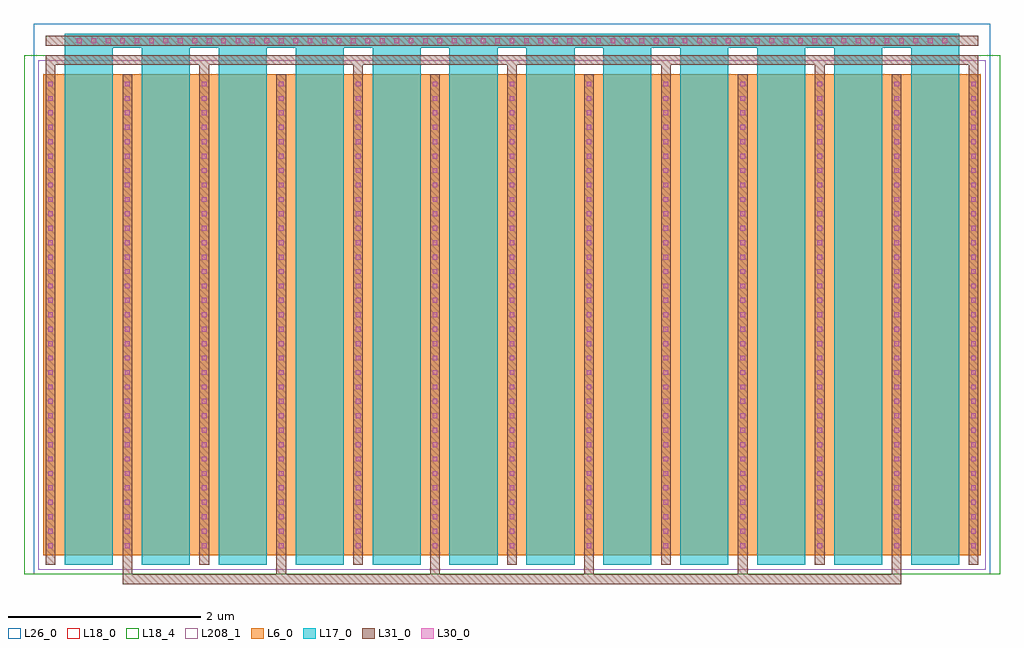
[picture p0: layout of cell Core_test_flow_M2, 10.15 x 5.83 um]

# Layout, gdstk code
import gdstk
lib = gdstk.Library(unit=1e-6, precision=1e-09)
def R(c, l, rs):  # rectangles x0, y0, x1, y1
    for r in rs: c.add(gdstk.rectangle(r[:2], r[2:], *l))
def A(c, l, x, y, w, h, nx, ny, dx, dy):  # array of equal rectangles
    R(c, l, [(x+i*dx, y+j*dy, x+i*dx+w, y+j*dy+h) for i in range(nx) for j in range(ny)])
L6_0 = (6, 0)
L17_0 = (17, 0)
L18_0 = (18, 0)
L18_4 = (18, 4)
L26_0 = (26, 0)
L30_0 = (30, 0)
L31_0 = (31, 0)
L208_1 = (208, 1)

core_test_flow_m2 = lib.new_cell('Core_test_flow_M2')
R(core_test_flow_m2, L6_0, [(-0.075,0.05,9.675,5.05)])
A(core_test_flow_m2, L17_0, 0.15, -0.05, 0.5, 5.2, 12, 1, 0.8, 0)
A(core_test_flow_m2, L17_0, 0.15, 5.05, 0.5, 0.3, 12, 1, 0.8, 0)
R(core_test_flow_m2, L17_0, [(0.15,5.325,9.45,5.475)])
R(core_test_flow_m2, L18_0, [(-0.275,-0.15,9.875,5.25)])
R(core_test_flow_m2, L18_4, [(-0.275,-0.15,9.875,5.25)])
R(core_test_flow_m2, L26_0, [(-0.175,-0.15,9.775,5.575)])
A(core_test_flow_m2, L30_0, -0.025, 0.125, 0.05, 0.05, 13, 33, 0.8, 0.15)
A(core_test_flow_m2, L30_0, 0.275, 5.375, 0.05, 0.05, 61, 1, 0.15, 0)
A(core_test_flow_m2, L31_0, 0.75, -0.15, 0.1, 0.1, 6, 1, 1.6, 0)
A(core_test_flow_m2, L31_0, -0.05, -0.05, 0.1, 5.1, 13, 1, 0.8, 0)
A(core_test_flow_m2, L31_0, -0.05, 0.05, 0.1, 5, 13, 1, 0.8, 0)
A(core_test_flow_m2, L31_0, -0.05, 5.05, 0.1, 0.1, 7, 1, 1.6, 0)
R(core_test_flow_m2, L31_0, [(0.75,-0.25,8.85,-0.15), (-0.05,5.15,9.65,5.25), (-0.05,5.35,9.65,5.45), (0.15,5.35,9.45,5.45)])
R(core_test_flow_m2, L208_1, [(-0.125,-0.1,9.725,5.2)])

lib.write_gds('Core_test_flow_M2.gds')
